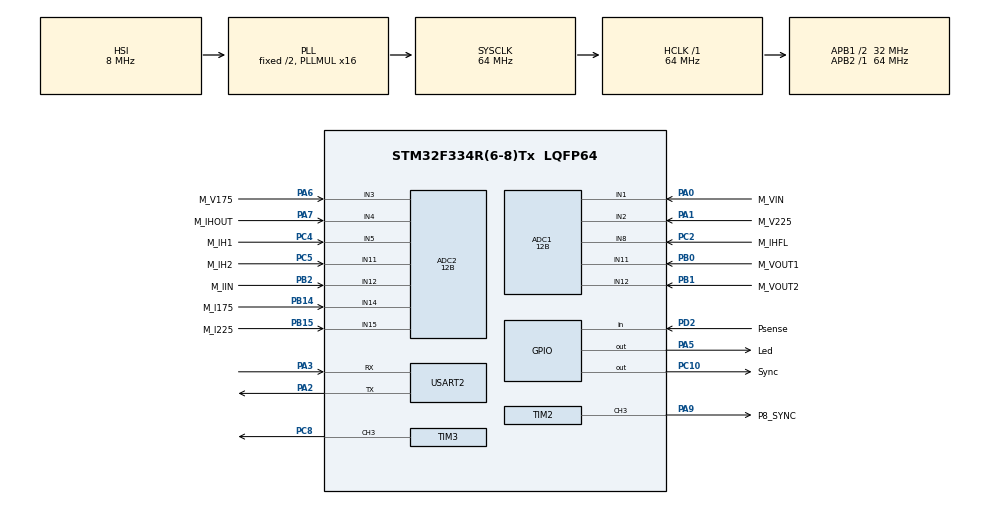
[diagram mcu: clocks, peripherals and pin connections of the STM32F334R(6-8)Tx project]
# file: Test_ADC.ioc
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ADC1.AWD1HighThreshold=4095
ADC1.AWD1ITMode=ENABLE
ADC1.AWD1LowThreshold=1690
ADC1.Channel-17\#ChannelRegularConversion=ADC_CHANNEL_1
ADC1.Channel-18\#ChannelRegularConversion=ADC_CHANNEL_2
ADC1.Channel-19\#ChannelRegularConversion=ADC_CHANNEL_8
ADC1.Channel-20\#ChannelRegularConversion=ADC_CHANNEL_11
ADC1.Channel-21\#ChannelRegularConversion=ADC_CHANNEL_12
ADC1.Channel-22\#ChannelRegularConversion=ADC_CHANNEL_TEMPSENSOR
ADC1.Channel-23\#ChannelRegularConversion=ADC_CHANNEL_VREFINT
ADC1.ClockPrescaler=ADC_CLOCK_SYNC_PCLK_DIV1
ADC1.ContinuousConvMode=DISABLE
ADC1.DMAContinuousRequests=ENABLE
ADC1.DataAlign=ADC_DATAALIGN_RIGHT
ADC1.DiscontinuousConvMode=DISABLE
ADC1.EOCSelection=ADC_EOC_SEQ_CONV
ADC1.EnableAnalogWatchDog1=true
ADC1.EnableAnalogWatchDog2=false
ADC1.EnableAnalogWatchDog3=false
ADC1.EnableInjectedConversion=DISABLE
ADC1.EnableRegularConversion=ENABLE
ADC1.ExternalTrigConv=ADC_EXTERNALTRIGCONV_T2_TRGO
ADC1.ExternalTrigConvEdge=ADC_EXTERNALTRIGCONVEDGE_RISING
ADC1.LowPowerAutoWait=DISABLE
ADC1.Mode=ADC_DUALMODE_REGSIMULT
ADC1.NbrOfConversion=7
ADC1.NbrOfConversionFlag=1
ADC1.Offset-17\#ChannelRegularConversion=0
ADC1.Offset-18\#ChannelRegularConversion=0
ADC1.Offset-19\#ChannelRegularConversion=0
ADC1.Offset-20\#ChannelRegularConversion=0
ADC1.Offset-21\#ChannelRegularConversion=0
ADC1.Offset-22\#ChannelRegularConversion=0
ADC1.Offset-23\#ChannelRegularConversion=0
ADC1.OffsetNumber-17\#ChannelRegularConversion=ADC_OFFSET_NONE
ADC1.OffsetNumber-18\#ChannelRegularConversion=ADC_OFFSET_NONE
ADC1.OffsetNumber-19\#ChannelRegularConversion=ADC_OFFSET_NONE
ADC1.OffsetNumber-20\#ChannelRegularConversion=ADC_OFFSET_NONE
ADC1.OffsetNumber-21\#ChannelRegularConversion=ADC_OFFSET_NONE
ADC1.OffsetNumber-22\#ChannelRegularConversion=ADC_OFFSET_NONE
ADC1.OffsetNumber-23\#ChannelRegularConversion=ADC_OFFSET_NONE
ADC1.Overrun=ADC_OVR_DATA_OVERWRITTEN
ADC1.Rank-17\#ChannelRegularConversion=1
ADC1.Rank-18\#ChannelRegularConversion=2
ADC1.Rank-19\#ChannelRegularConversion=3
ADC1.Rank-20\#ChannelRegularConversion=4
ADC1.Rank-21\#ChannelRegularConversion=5
ADC1.Rank-22\#ChannelRegularConversion=6
ADC1.Rank-23\#ChannelRegularConversion=7
ADC1.Resolution=ADC_RESOLUTION_12B
ADC1.SamplingTime-17\#ChannelRegularConversion=ADC_SAMPLETIME_19CYCLES_5
ADC1.SamplingTime-18\#ChannelRegularConversion=ADC_SAMPLETIME_19CYCLES_5
ADC1.SamplingTime-19\#ChannelRegularConversion=ADC_SAMPLETIME_19CYCLES_5
ADC1.SamplingTime-20\#ChannelRegularConversion=ADC_SAMPLETIME_19CYCLES_5
ADC1.SamplingTime-21\#ChannelRegularConversion=ADC_SAMPLETIME_19CYCLES_5
ADC1.SamplingTime-22\#ChannelRegularConversion=ADC_SAMPLETIME_61CYCLES_5
ADC1.SamplingTime-23\#ChannelRegularConversion=ADC_SAMPLETIME_61CYCLES_5
ADC1.ScanConvMode=ADC_SCAN_ENABLE
ADC1.SubFamily=STM32F334x8
ADC1.TwoSamplingDelay=ADC_TWOSAMPLINGDELAY_1CYCLE
ADC1.WatchdogChannel=ADC_CHANNEL_TEMPSENSOR
ADC1.master=1
ADC2.Channel-0\#ChannelRegularConversion=ADC_CHANNEL_3
ADC2.Channel-1\#ChannelRegularConversion=ADC_CHANNEL_4
ADC2.Channel-2\#ChannelRegularConversion=ADC_CHANNEL_5
ADC2.Channel-3\#ChannelRegularConversion=ADC_CHANNEL_11
ADC2.Channel-4\#ChannelRegularConversion=ADC_CHANNEL_12
ADC2.Channel-5\#ChannelRegularConversion=ADC_CHANNEL_14
ADC2.Channel-7\#ChannelRegularConversion=ADC_CHANNEL_15
ADC2.ClockPrescaler=ADC_CLOCK_SYNC_PCLK_DIV1
ADC2.ContinuousConvMode=DISABLE
ADC2.DMAContinuousRequests=DISABLE
ADC2.DataAlign=ADC_DATAALIGN_RIGHT
ADC2.DiscontinuousConvMode=DISABLE
ADC2.EOCSelection=ADC_EOC_SEQ_CONV
ADC2.EnableAnalogWatchDog1=false
ADC2.EnableAnalogWatchDog2=false
ADC2.EnableAnalogWatchDog3=false
ADC2.EnableInjectedConversion=DISABLE
ADC2.EnableRegularConversion=ENABLE
ADC2.LowPowerAutoWait=DISABLE
ADC2.Mode=ADC_DUALMODE_REGSIMULT
ADC2.NbrOfConversion=7
ADC2.NbrOfConversionFlag=1
ADC2.Offset-0\#ChannelRegularConversion=0
ADC2.Offset-1\#ChannelRegularConversion=0
ADC2.Offset-2\#ChannelRegularConversion=0
ADC2.Offset-3\#ChannelRegularConversion=0
ADC2.Offset-4\#ChannelRegularConversion=0
ADC2.Offset-5\#ChannelRegularConversion=0
ADC2.Offset-7\#ChannelRegularConversion=0
ADC2.OffsetNumber-0\#ChannelRegularConversion=ADC_OFFSET_NONE
ADC2.OffsetNumber-1\#ChannelRegularConversion=ADC_OFFSET_NONE
ADC2.OffsetNumber-2\#ChannelRegularConversion=ADC_OFFSET_NONE
ADC2.OffsetNumber-3\#ChannelRegularConversion=ADC_OFFSET_NONE
ADC2.OffsetNumber-4\#ChannelRegularConversion=ADC_OFFSET_NONE
ADC2.OffsetNumber-5\#ChannelRegularConversion=ADC_OFFSET_NONE
ADC2.OffsetNumber-7\#ChannelRegularConversion=ADC_OFFSET_NONE
ADC2.Overrun=ADC_OVR_DATA_OVERWRITTEN
ADC2.Rank-0\#ChannelRegularConversion=1
ADC2.Rank-1\#ChannelRegularConversion=2
ADC2.Rank-2\#ChannelRegularConversion=3
ADC2.Rank-3\#ChannelRegularConversion=4
ADC2.Rank-4\#ChannelRegularConversion=5
ADC2.Rank-5\#ChannelRegularConversion=6
ADC2.Rank-7\#ChannelRegularConversion=7
ADC2.Resolution=ADC_RESOLUTION_12B
ADC2.SamplingTime-0\#ChannelRegularConversion=ADC_SAMPLETIME_19CYCLES_5
ADC2.SamplingTime-1\#ChannelRegularConversion=ADC_SAMPLETIME_19CYCLES_5
ADC2.SamplingTime-2\#ChannelRegularConversion=ADC_SAMPLETIME_19CYCLES_5
ADC2.SamplingTime-3\#ChannelRegularConversion=ADC_SAMPLETIME_19CYCLES_5
ADC2.SamplingTime-4\#ChannelRegularConversion=ADC_SAMPLETIME_19CYCLES_5
ADC2.SamplingTime-5\#ChannelRegularConversion=ADC_SAMPLETIME_61CYCLES_5
ADC2.SamplingTime-7\#ChannelRegularConversion=ADC_SAMPLETIME_61CYCLES_5
ADC2.ScanConvMode=ADC_SCAN_ENABLE
ADC2.SubFamily=STM32F334x8
Dma.ADC1.0.Direction=DMA_PERIPH_TO_MEMORY
Dma.ADC1.0.Instance=DMA1_Channel1
Dma.ADC1.0.MemDataAlignment=DMA_MDATAALIGN_WORD
Dma.ADC1.0.MemInc=DMA_MINC_ENABLE
Dma.ADC1.0.Mode=DMA_CIRCULAR
Dma.ADC1.0.PeriphDataAlignment=DMA_PDATAALIGN_WORD
Dma.ADC1.0.PeriphInc=DMA_PINC_DISABLE
Dma.ADC1.0.Priority=DMA_PRIORITY_LOW
Dma.Request0=ADC1
Mcu.Family=STM32F3
Mcu.Name=STM32F334R(6-8)Tx
Mcu.Package=LQFP64
NVIC.DMA1_Channel1_IRQn=true\:0\:0\:false\:false\:true\:false\:true
NVIC.PriorityGroup=NVIC_PRIORITYGROUP_4
NVIC.TIM2_IRQn=true\:1\:0\:true\:false\:true\:true\:true
NVIC.TIM3_IRQn=true\:1\:0\:true\:false\:true\:true\:true
NVIC.USART2_IRQn=true\:0\:0\:false\:false\:true\:true\:true
PA0.GPIO_Label=M_VIN
PA0.Mode=IN1-Single-Ended
PA0.Signal=ADC1_IN1
PA1.GPIO_Label=M_V225
PA1.Mode=IN2-Single-Ended
PA1.Signal=ADC1_IN2
PA2.Mode=Asynchronous
PA2.Signal=USART2_TX
PA3.Mode=Asynchronous
PA3.Signal=USART2_RX
PA5.GPIO_Label=Led
PA5.Signal=GPIO_Output
PA6.GPIO_Label=M_V175
PA6.Mode=IN3-Single-Ended
PA6.Signal=ADC2_IN3
PA7.GPIO_Label=M_IHOUT
PA7.Mode=IN4-Single-Ended
PA7.Signal=ADC2_IN4
PA9.GPIO_Label=P8_SYNC
PA9.Signal=S_TIM2_CH3
PB0.GPIO_Label=M_VOUT1
PB0.Mode=IN11-Single-Ended
PB0.Signal=ADC1_IN11
PB1.GPIO_Label=M_VOUT2
PB1.Mode=IN12-Single-Ended
PB1.Signal=ADC1_IN12
PB14.GPIO_Label=M_I175
PB14.Mode=IN14-Single-Ended
PB14.Signal=ADC2_IN14
PB15.GPIO_Label=M_I225
PB15.Mode=IN15-Single-Ended
PB15.Signal=ADC2_IN15
PB2.GPIO_Label=M_IIN
PB2.Mode=IN12-Single-Ended
PB2.Signal=ADC2_IN12
PC10.GPIO_Label=Sync
PC10.GPIO_Speed=GPIO_SPEED_FREQ_HIGH
PC10.Signal=GPIO_Output
PC2.GPIO_Label=M_IHFL
PC2.Signal=ADCx_IN8
PC4.GPIO_Label=M_IH1
PC4.Mode=IN5-Single-Ended
PC4.Signal=ADC2_IN5
PC5.GPIO_Label=M_IH2
PC5.Mode=IN11-Single-Ended
PC5.Signal=ADC2_IN11
PC8.Signal=S_TIM3_CH3
PD2.GPIO_Label=Psense
PD2.Signal=GPIO_Input
ProjectManager.HeapSize=0x200
ProjectManager.StackSize=0x400
ProjectManager.TargetToolchain=Other Toolchains (GPDSC)
RCC.AHBFreq_Value=64000000
RCC.APB1CLKDivider=RCC_HCLK_DIV2
RCC.APB1Freq_Value=32000000
RCC.APB1TimFreq_Value=64000000
RCC.APB2Freq_Value=64000000
RCC.APB2TimFreq_Value=64000000
RCC.CortexFreq_Value=64000000
RCC.HCLKFreq_Value=64000000
RCC.HSE_VALUE=8000000
RCC.HSI_VALUE=8000000
RCC.LSE_VALUE=32768
RCC.PLLMUL=RCC_PLL_MUL16
RCC.SYSCLKFreq_VALUE=64000000
RCC.SYSCLKSourceVirtual=RCC_SYSCLKSOURCE_PLLCLK
SH.ADCx_IN8.0=ADC1_IN8,IN8-Single-Ended
SH.S_TIM2_CH3.0=TIM2_CH3,PWM Generation3 CH3
SH.S_TIM3_CH3.0=TIM3_CH3,PWM Generation3 CH3
TIM2.Channel-Output\ Compare1\ No\ Output=TIM_CHANNEL_1
TIM2.Channel-PWM\ Generation3\ CH3=TIM_CHANNEL_3
TIM2.OCMode_1=TIM_OCMODE_TIMING
TIM2.Period=19
TIM2.Prescaler=127
TIM2.Pulse-PWM\ Generation3\ CH3=1
TIM2.TIM_MasterOutputTrigger=TIM_TRGO_UPDATE
TIM2.TIM_MasterSlaveMode=TIM_MASTERSLAVEMODE_DISABLE
TIM3.Channel-PWM\ Generation3\ CH3=TIM_CHANNEL_3
TIM3.Period=1
TIM3.Prescaler=0
TIM3.Pulse-PWM\ Generation3\ CH3=1
TIM3.TIM_MasterOutputTrigger=TIM_TRGO_UPDATE
TIM3.TIM_MasterSlaveMode=TIM_MASTERSLAVEMODE_DISABLE
USART2.VirtualMode-Asynchronous=VM_ASYNC
VP_ADC1_TempSens_Input.Mode=IN-TempSens
VP_ADC1_Vref_Input.Mode=IN-Vrefint
VP_CRC_VS_CRC.Mode=CRC_Activate
VP_HRTIM1_VS_hrtimMasterTimerNoOutput.Mode=MasterTimer
VP_TIM2_VS_ClockSourceINT.Mode=Internal
VP_TIM2_VS_no_output1.Mode=Output Compare1 No Output
VP_TIM3_VS_ClockSourceITR.Mode=TriggerSource_ITR1
VP_TIM3_VS_ControllerModeClock.Mode=Clock Mode
board=Test_ADC

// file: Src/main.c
/* USER CODE BEGIN Header */
/**
  ******************************************************************************
  * @file           : main.c
  * @brief          : Main program body
  ******************************************************************************
  * @attention
  *
  * <h2><center>&copy; Copyright (c) 2019 STMicroelectronics.
  * All rights reserved.</center></h2>
  *
  * This software component is licensed by ST under BSD 3-Clause license,
  * the "License"; You may not use this file except in compliance with the
  * License. You may obtain a copy of the License at:
  *                        opensource.org/licenses/BSD-3-Clause
  *
  ******************************************************************************
  */
/* USER CODE END Header */

#include "main.h"
#include "stm32f3xx_ll_adc.h"
#include "adc.h"
#include "crc.h"
#include "dma.h"
#include "hrtim.h"
#include "tim.h"
#include "usart.h"
#include "gpio.h"

/* USER CODE BEGIN Includes */
#include <stdbool.h>
#include "Command.h"
#include "Loop.h"
/* USER CODE END Includes */

/* USER CODE BEGIN PV */
/* Private variables ---------------------------------------------------------*/
#define ADC_STEPS 4096
#define ADC_FULL_MEASURE_MV (VREFINT_CAL_VREF * 1.0f)
#define RESISTOR_400V 4422
#define RESISTOR_200V 4222
#define RESISTOR_3V 22

unsigned short * pRefInt = (((uint16_t*)((uint32_t)0x1FFFF7BAU)));
unsigned short sRefInt;
float mvCorrectionFactor = 1.0;
const float mvFactor0 = (float)VREFINT_CAL_VREF / ADC_STEPS;
const float mvFactor1 = (float)VREFINT_CAL_VREF / ADC_STEPS * RESISTOR_400V / RESISTOR_3V;
const float mvFactor2 = (float)VREFINT_CAL_VREF / ADC_STEPS * RESISTOR_200V / RESISTOR_3V;

//const float iOffset = 2344;  // experimentaly calibrated (temperature dependend!)
const float iOffset = 2500;// / (float)VREFINT_CAL_VREF * ADC_STEPS * 6.8f / 9;

const float iDivider = 9.0f / 6.8f; // values of resistor bridge for current
const float iFactor1 = 1.0f /100.0f;   // for 20A model 100mV/A
const float iFactor2 = 1.0f / 185.0f;   // for 5A model 185mv/A

volatile float fM_VIN, fM_V225, fM_IHFL, fM_VOUT1, fM_VOUT2, fM_Temp, fM_Vref;
volatile float fM_V175, fM_IOUT, fM_IH1, fM_IH2, fM_IIN, fM_I175, fM_I225;
/* USER CODE END PV */

void SystemClock_Config(void);
/* USER CODE BEGIN PFP */
/* Private function prototypes -----------------------------------------------*/

/* USER CODE END PFP */

/* USER CODE BEGIN 0 */
void delay_us_DWT(int uSec)
{
	volatile uint32_t cycles = (SystemCoreClock / 1000000L)*uSec;
	volatile uint32_t start = DWT->CYCCNT;
	do {
	} while (DWT->CYCCNT - start < cycles);
}

#define ADC_BUFFERM_LENGTH 7
uint16_t g_ADCBufferM[ADC_BUFFERM_LENGTH * 2];
uint16_t * pM_VIN  =  &g_ADCBufferM[0];
uint16_t * pM_V175  = &g_ADCBufferM[1];
uint16_t * pM_V225  = &g_ADCBufferM[2];
uint16_t * pM_IOUT  = &g_ADCBufferM[3];
uint16_t * pM_IHFL  = &g_ADCBufferM[4];
uint16_t * pM_IH1   = &g_ADCBufferM[5];
uint16_t * pM_VOUT1 = &g_ADCBufferM[6];
uint16_t * pM_IH2   = &g_ADCBufferM[7];
uint16_t * pM_VOUT2 = &g_ADCBufferM[8];
uint16_t * pM_IIN   = &g_ADCBufferM[9];
uint16_t * pM_Temp  = &g_ADCBufferM[10];
uint16_t * pM_I175  = &g_ADCBufferM[11];
uint16_t * pM_Vref  = &g_ADCBufferM[12];
uint16_t * pM_I225  = &g_ADCBufferM[13];
// store previous values
unsigned short g_ADCOld[14];
uint16_t * oM_VIN = &g_ADCOld[0];
uint16_t * oM_V175 = &g_ADCOld[1];
uint16_t * oM_V225 = &g_ADCOld[2];
uint16_t * oM_IOUT = &g_ADCOld[3];
uint16_t * oM_IHFL = &g_ADCOld[4];
uint16_t * oM_IH1 = &g_ADCOld[5];
uint16_t * oM_VOUT1 = &g_ADCOld[6];
uint16_t * oM_IH2 = &g_ADCOld[7];
uint16_t * oM_VOUT2 = &g_ADCOld[8];
uint16_t * oM_IIN = &g_ADCOld[9];
uint16_t * oM_Temp = &g_ADCOld[10];
uint16_t * oM_I175 = &g_ADCOld[11];
uint16_t * oM_Vref = &g_ADCOld[12];
uint16_t * oM_I225 = &g_ADCOld[13];

//#define VALIDATE(newValue,oldValue) ((newValue) != 0 ? (oldValue) = ((newValue) > 0 && (newValue) > (oldValue)*9/10 && (newValue) < (oldValue)*11/10? (newValue):(oldValue)):(oldValue))
#define VALIDATE(newValue,oldValue) ((oldValue) = (newValue))

int g_MeasurementNumber=0;
int g_DMACount = 0;
bool bErrorADC;
bool bErrorDMA;

void   HAL_ADC_ErrorCallback(ADC_HandleTypeDef *hadc) // data overrun
{
	if (hadc->ErrorCode == HAL_ADC_ERROR_DMA) {
		bErrorDMA = true;
	} else if (hadc->ErrorCode == HAL_ADC_ERROR_OVR) {
		bErrorADC = 1;
	} else {
		bErrorADC = 2;
	}
}

void HAL_ADC_LevelOutOfWindowCallback(ADC_HandleTypeDef* adcHandle)
{
	HAL_GPIO_WritePin(Led_GPIO_Port, Led_Pin, GPIO_PIN_SET);
}
volatile static bool doneADC;
void HAL_ADC_ConvCpltCallback(ADC_HandleTypeDef* adcHandle){// end of DMA
	HAL_GPIO_WritePin(Sync_GPIO_Port, Sync_Pin, GPIO_PIN_SET);   // Pin 5 of serial connector
	g_MeasurementNumber++;

	VALIDATE(*pM_VIN, *oM_VIN);
	fM_VIN = (*oM_VIN) *mvFactor1  * mvCorrectionFactor;  		// test at P21 -- ok pas de bruit
	VALIDATE(*pM_V225, *oM_V225);
	fM_V225 = (*oM_V225) *mvFactor2  * mvCorrectionFactor;  	// test at P3  -- ok pas de bruit
	VALIDATE(*pM_IHFL, *oM_IHFL);
	fM_IHFL = ((*oM_IHFL) - iOffset) *iDivider * mvCorrectionFactor;   	// test at U11 pin 1 -- error lit sur VOUT1
	VALIDATE(*pM_VOUT1, *oM_VOUT1);
	fM_VOUT1 = (*oM_VOUT1) *mvFactor1 * mvCorrectionFactor;  			// ADC1 IN11 test at P20 -- OK
	VALIDATE(*pM_VOUT2, *oM_VOUT2);
	fM_VOUT2 = (*oM_VOUT2) *mvFactor1 * mvCorrectionFactor;  			// test at P18 -- OK
	VALIDATE(*pM_Temp, *oM_Temp);
	fM_Temp = 1.0f * ((*TEMPSENSOR_CAL1_ADDR) - (*oM_Temp)) * (TEMPSENSOR_CAL2_TEMP - TEMPSENSOR_CAL1_TEMP) / ((*TEMPSENSOR_CAL1_ADDR) - (*TEMPSENSOR_CAL2_ADDR)) + TEMPSENSOR_CAL1_TEMP;
	;
	VALIDATE(*pM_Vref, *oM_Vref);
	fM_Vref = (*oM_Vref) * mvFactor0;
	sRefInt = *pRefInt;
	mvCorrectionFactor =  0.01f*(* VREFINT_CAL_ADDR) / (*oM_Vref) + 0.99f * mvCorrectionFactor;
	// ADC2
	VALIDATE(*pM_V175, *oM_V175);
	fM_V175 = (*oM_V175) *mvFactor2  * mvCorrectionFactor;  			// test at P4  -- ok
	VALIDATE(*pM_IOUT, *oM_IOUT);
	fM_IOUT = ((*oM_IOUT)*mvFactor0  * mvCorrectionFactor * iDivider - iOffset) * iFactor1;     	// test at P13 pin2 (range 5V) -- bruite error, pas connecte essayer R43 R44
	VALIDATE(*pM_IH1, *oM_IH1);
	fM_IH1 = ((*oM_IH1) - iOffset) *iDivider* mvCorrectionFactor;   		// test at U20 pin1 -- error lit sur IOUT
	VALIDATE(*pM_IH2, *oM_IH2);
	fM_IH2 = ((*oM_IH2) - iOffset) *iDivider* mvCorrectionFactor;   		// test at U17 pin1 -- OK
	VALIDATE(*pM_IIN, *oM_IIN);
	fM_IIN = ((*oM_IIN)*mvFactor0  * mvCorrectionFactor * iDivider - iOffset) * iFactor1;   	// test at P16 pin2 range 5V --OK
	VALIDATE(*pM_I175, *oM_I175);
	fM_I175 = ((*oM_I175)*mvFactor0  * mvCorrectionFactor * iDivider - iOffset) * iFactor2;    	// test at P10 pin2 range 5V --OK
	VALIDATE(*pM_I225, *oM_I225);
	fM_I225 = ((*oM_I225)*mvFactor0  * mvCorrectionFactor * iDivider - iOffset) * iFactor2;    	// test at P9 pin2 range 5V -- OK

	HAL_GPIO_WritePin(Sync_GPIO_Port, Sync_Pin, GPIO_PIN_RESET);
	doneADC = true;
}

void HAL_TIM_OC_DelayElapsedCallback(TIM_HandleTypeDef *htim)
{
	if (htim == &htim2) {
		if (doneADC) {
			doneADC = false;
			HAL_GPIO_WritePin(Sync_GPIO_Port, Sync_Pin, GPIO_PIN_SET);
			delay_us_DWT(0);
			HAL_GPIO_WritePin(Sync_GPIO_Port, Sync_Pin, GPIO_PIN_RESET);
			return;
		}
		HAL_GPIO_WritePin(Sync_GPIO_Port, Sync_Pin, GPIO_PIN_SET);
		HAL_GPIO_WritePin(Sync_GPIO_Port, Sync_Pin, GPIO_PIN_RESET);
	} else if (htim == &htim3){
		HAL_GPIO_WritePin(Sync_GPIO_Port, Sync_Pin, GPIO_PIN_SET);
		//delay_us_DWT(1);
		HAL_GPIO_WritePin(Sync_GPIO_Port, Sync_Pin, GPIO_PIN_RESET);
	}
}

void HAL_TIM_PeriodElapsedCallback(TIM_HandleTypeDef *htim)
{
	if (htim == &htim2) {
		HAL_GPIO_WritePin(Sync_GPIO_Port, Sync_Pin, GPIO_PIN_SET);
		delay_us_DWT(0);
		HAL_GPIO_WritePin(Sync_GPIO_Port, Sync_Pin, GPIO_PIN_RESET);
	}
}

/* USER CODE END 0 */

int main(void)
{
  /* USER CODE BEGIN 1 */
	DWT->CYCCNT = 0;
  // Enable hi resolution counter
	DWT->CTRL &= ~0x00000001;
	DWT->CTRL |= 0x00000001;
  /* USER CODE END 1 */

  /* MCU Configuration--------------------------------------------------------*/

  /* Reset of all peripherals, Initializes the Flash interface and the Systick. */
  HAL_Init();

  /* Configure the system clock */
  SystemClock_Config();

  /* Initialize all configured peripherals */
  MX_GPIO_Init();
  MX_DMA_Init();
  MX_ADC1_Init();
  MX_ADC2_Init();
  MX_CRC_Init();
  MX_HRTIM1_Init();
  MX_TIM3_Init();
  MX_TIM2_Init();
  MX_USART2_UART_Init();
  HAL_Delay(2); // must wait for UART to initialize
  /* USER CODE BEGIN 2 */

	initializeCommand();
	HAL_Delay(2);	// wait for ADV voltage regulator to settle before calibrating (10us)
	HAL_ADCEx_Calibration_Start(&hadc1, ADC_SINGLE_ENDED);
	HAL_ADCEx_Calibration_Start(&hadc2, ADC_SINGLE_ENDED);
	HAL_Delay(2);
	// tim3
	HAL_TIM_PWM_Start_IT(&htim3, TIM_CHANNEL_1);
	HAL_TIM_PWM_Start(&htim3, TIM_CHANNEL_2);
	__HAL_TIM_ENABLE_IT(&htim3, TIM_IT_UPDATE);

	// tim2 for ADC DMA
	HAL_TIM_OC_Start_IT(&htim2, TIM_CHANNEL_1);
	//HAL_TIM_OC_Start(&htim2, TIM_CHANNEL_3);      // sync pulse on the P8 (PA9) (repurposed) connector

	setTempThreshold(45);
	HAL_ADC_Start(&hadc2);
	HAL_ADCEx_MultiModeStart_DMA(&hadc1, (uint32_t*) g_ADCBufferM, ADC_BUFFERM_LENGTH);
  /* USER CODE END 2 */

  /* Infinite loop */
  while (1)
  {

    /* USER CODE BEGIN 3 */
	  doLoop();
	  //HAL_GPIO_TogglePin(Led_GPIO_Port, Led_Pin);
	  //HAL_GPIO_WritePin(Led_GPIO_Port, Led_Pin, GPIO_PIN_SET);
	  HAL_Delay(1);
  }
  /* USER CODE END 3 */
}

void SystemClock_Config(void)
{
  RCC_OscInitTypeDef RCC_OscInitStruct = {0};
  RCC_ClkInitTypeDef RCC_ClkInitStruct = {0};
  RCC_PeriphCLKInitTypeDef PeriphClkInit = {0};

  /** Initializes the CPU, AHB and APB busses clocks
  */
  RCC_OscInitStruct.OscillatorType = RCC_OSCILLATORTYPE_HSI;
  RCC_OscInitStruct.HSIState = RCC_HSI_ON;
  RCC_OscInitStruct.HSICalibrationValue = RCC_HSICALIBRATION_DEFAULT;
  RCC_OscInitStruct.PLL.PLLState = RCC_PLL_ON;
  RCC_OscInitStruct.PLL.PLLSource = RCC_PLLSOURCE_HSI;
  RCC_OscInitStruct.PLL.PLLMUL = RCC_PLL_MUL16;
  if (HAL_RCC_OscConfig(&RCC_OscInitStruct) != HAL_OK)
  {
    Error_Handler();
  }
  /** Initializes the CPU, AHB and APB busses clocks
  */
  RCC_ClkInitStruct.ClockType = RCC_CLOCKTYPE_HCLK|RCC_CLOCKTYPE_SYSCLK
                              |RCC_CLOCKTYPE_PCLK1|RCC_CLOCKTYPE_PCLK2;
  RCC_ClkInitStruct.SYSCLKSource = RCC_SYSCLKSOURCE_PLLCLK;
  RCC_ClkInitStruct.AHBCLKDivider = RCC_SYSCLK_DIV1;
  RCC_ClkInitStruct.APB1CLKDivider = RCC_HCLK_DIV2;
  RCC_ClkInitStruct.APB2CLKDivider = RCC_HCLK_DIV1;

  if (HAL_RCC_ClockConfig(&RCC_ClkInitStruct, FLASH_LATENCY_2) != HAL_OK)
  {
    Error_Handler();
  }
  PeriphClkInit.PeriphClockSelection = RCC_PERIPHCLK_HRTIM1;
  PeriphClkInit.Hrtim1ClockSelection = RCC_HRTIM1CLK_HCLK;
  if (HAL_RCCEx_PeriphCLKConfig(&PeriphClkInit) != HAL_OK)
  {
    Error_Handler();
  }
}

void Error_Handler(void)
{
  while(1)
  {
  }
}

/************************ (C) COPYRIGHT STMicroelectronics *****END OF FILE****/
